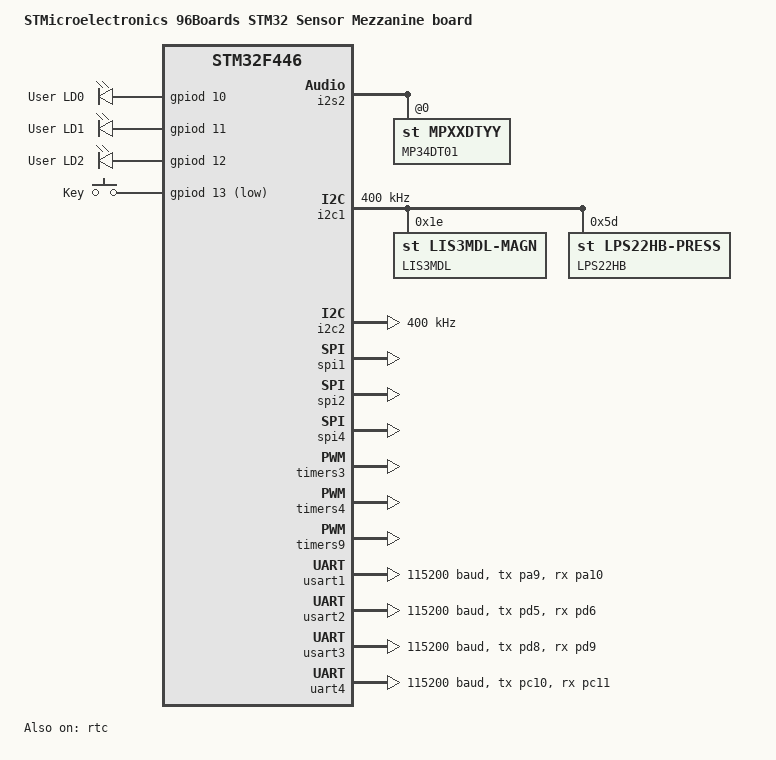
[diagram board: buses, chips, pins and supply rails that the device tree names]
/*
 * Copyright (c) 2018 Linaro Limited
 *
 * SPDX-License-Identifier: Apache-2.0
 */

/dts-v1/;
#include <st/f4/stm32f446Xe.dtsi>
#include <st/f4/stm32f446v(c-e)tx-pinctrl.dtsi>

/ {
	model = "STMicroelectronics 96Boards STM32 Sensor Mezzanine board";
	compatible = "st,stm32f446-b96b-f446ve";

	chosen {
		zephyr,console = &uart4;
		zephyr,shell-uart = &uart4;
		zephyr,sram = &sram0;
		zephyr,flash = &flash0;
	};

	leds {
		compatible = "gpio-leds";
		red_led_0: led_0 {
			gpios = <&gpiod 10 GPIO_ACTIVE_HIGH>;
			label = "User LD0";
		};
		green_led_1: led_1 {
			gpios = <&gpiod 11 GPIO_ACTIVE_HIGH>;
			label = "User LD1";
		};
		blue_led_2: led_2 {
			gpios = <&gpiod 12 GPIO_ACTIVE_HIGH>;
			label = "User LD2";
		};
	};

	gpio_keys {
		compatible = "gpio-keys";
		user_button: button {
			label = "Key";
			gpios = <&gpiod 13 GPIO_ACTIVE_LOW>;
		};
	};

	aliases {
		led0 = &red_led_0;
		led1 = &green_led_1;
		led2 = &blue_led_2;
		sw0 = &user_button;
	};
};

&i2s2 {
	status = "okay";

	mp34dt01@0 {
		compatible = "st,mpxxdtyy";
		reg = <0>;
		label = "MP34DT01";
	};
};

&i2c1 {
	status = "okay";
	clock-frequency = <I2C_BITRATE_FAST>;

	/* ST Microelectronics LIS3MDL magnetic field sensor */
	lis3mdl-magn@1e {
		compatible = "st,lis3mdl-magn";
		reg = <0x1e>;
		label = "LIS3MDL";
	};

	/* ST Microelectronics LPS22HB pressure sensor */
	lps22hb-press@5d {
		compatible = "st,lps22hb-press";
		reg = <0x5d>;
		label = "LPS22HB";
	};
};

&i2c2 {
	status = "okay";
	clock-frequency = <I2C_BITRATE_FAST>;
};

&dma1 {
	status = "okay";
};

&i2s2 {
	status = "okay";
};

&spi1 {
	status = "okay";
};

&spi2 {
	status = "okay";
};

&spi4 {
	status = "okay";
};

&timers3 {
	status = "okay";

	pwm3: pwm {
		status = "okay";
		pinctrl-0 = <&tim3_ch1_pwm_pb4 &tim3_ch3_pwm_pc8>;
	};
};

&timers4 {
	status = "okay";

	pwm4: pwm {
		status = "okay";
		pinctrl-0 = <&tim4_ch3_pwm_pd14 &tim4_ch4_pwm_pd15>;
	};
};

&timers9 {
	status = "okay";

	pwm9: pwm {
		status = "okay";
		pinctrl-0 = <&tim9_ch1_pwm_pe5 &tim9_ch2_pwm_pe6>;
	};
};

&usart1 {
	pinctrl-0 = <&usart1_tx_pa9 &usart1_rx_pa10>;
	current-speed = <115200>;
	status = "okay";
};

&usart2 {
	pinctrl-0 = <&usart2_tx_pd5 &usart2_rx_pd6>;
	current-speed = <115200>;
	status = "okay";
};

&usart3 {
	pinctrl-0 = <&usart3_tx_pd8 &usart3_rx_pd9>;
	current-speed = <115200>;
	status = "okay";
};

&uart4 {
	pinctrl-0 = <&uart4_tx_pc10 &uart4_rx_pc11>;
	current-speed = <115200>;
	status = "okay";
};

&rtc {
	status = "okay";
};
